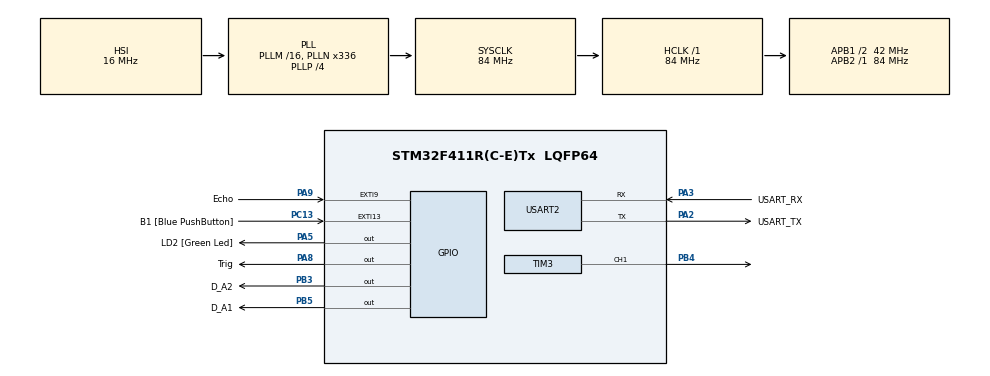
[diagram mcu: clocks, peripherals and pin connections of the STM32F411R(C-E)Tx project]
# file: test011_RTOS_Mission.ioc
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FREERTOS.BinarySemaphores01=myBinarySem01,Dynamic,NULL
FREERTOS.Tasks01=myTask01,1,128,myStartTask01,Default,NULL,Dynamic,NULL,NULL;myTask02,0,128,myStartTask02,Default,NULL,Dynamic,NULL,NULL;myTask03,-1,128,myStartTask03,Default,NULL,Dynamic,NULL,NULL;myTask04,-2,512,myStartTask04,Default,NULL,Dynamic,NULL,NULL
FREERTOS.configUSE_NEWLIB_REENTRANT=1
Mcu.Family=STM32F4
Mcu.Name=STM32F411R(C-E)Tx
Mcu.Package=LQFP64
NVIC.EXTI15_10_IRQn=true\:5\:0\:false\:false\:true\:true\:true\:true\:true
NVIC.EXTI9_5_IRQn=true\:5\:0\:false\:false\:true\:false\:true\:true\:true
NVIC.PriorityGroup=NVIC_PRIORITYGROUP_4
NVIC.TIM1_UP_TIM10_IRQn=true\:15\:0\:false\:false\:true\:false\:false\:true\:true
NVIC.TimeBase=TIM1_UP_TIM10_IRQn
NVIC.TimeBaseIP=TIM10
PA13.GPIO_Label=TMS
PA13.Mode=Serial_Wire
PA13.Signal=SYS_JTMS-SWDIO
PA14.GPIO_Label=TCK
PA14.Mode=Serial_Wire
PA14.Signal=SYS_JTCK-SWCLK
PA2.GPIO_Label=USART_TX
PA2.Mode=Asynchronous
PA2.Signal=USART2_TX
PA3.GPIO_Label=USART_RX
PA3.Mode=Asynchronous
PA3.Signal=USART2_RX
PA5.GPIO_Label=LD2 [Green Led]
PA5.Signal=GPIO_Output
PA8.GPIO_Label=Trig
PA8.Signal=GPIO_Output
PA9.GPIO_Label=Echo
PA9.GPIO_ModeDefaultEXTI=GPIO_MODE_IT_RISING_FALLING
PA9.Signal=GPXTI9
PB3.GPIO_Label=D_A2
PB3.Signal=GPIO_Output
PB4.Signal=S_TIM3_CH1
PB5.GPIO_Label=D_A1
PB5.Signal=GPIO_Output
PC13-ANTI_TAMP.GPIO_Label=B1 [Blue PushButton]
PC13-ANTI_TAMP.GPIO_ModeDefaultEXTI=GPIO_MODE_IT_FALLING
PC13-ANTI_TAMP.Signal=GPXTI13
PC14-OSC32_IN.Mode=LSE-External-Oscillator
PC14-OSC32_IN.Signal=RCC_OSC32_IN
PC15-OSC32_OUT.Mode=LSE-External-Oscillator
PC15-OSC32_OUT.Signal=RCC_OSC32_OUT
PH0\ -\ OSC_IN.Mode=HSE-External-Clock-Source
PH0\ -\ OSC_IN.Signal=RCC_OSC_IN
PH1\ -\ OSC_OUT.Mode=HSE-External-Clock-Source
PH1\ -\ OSC_OUT.Signal=RCC_OSC_OUT
ProjectManager.HeapSize=0x200
ProjectManager.StackSize=0x400
ProjectManager.TargetToolchain=STM32CubeIDE
RCC.48MHZClocksFreq_Value=84000000
RCC.AHBFreq_Value=84000000
RCC.APB1CLKDivider=RCC_HCLK_DIV2
RCC.APB1Freq_Value=42000000
RCC.APB1TimFreq_Value=84000000
RCC.APB2Freq_Value=84000000
RCC.APB2TimFreq_Value=84000000
RCC.CortexFreq_Value=84000000
RCC.FLatency-AdvancedSettings=FLASH_LATENCY_2
RCC.HCLKFreq_Value=84000000
RCC.HSE_VALUE=8000000
RCC.HSI_VALUE=16000000
RCC.PLLN=336
RCC.PLLP=RCC_PLLP_DIV4
RCC.SYSCLKFreq_VALUE=84000000
RCC.SYSCLKSource=RCC_SYSCLKSOURCE_PLLCLK
RCC.VCOOutputFreq_Value=336000000
SH.S_TIM3_CH1.0=TIM3_CH1,PWM Generation1 CH1
TIM2.Prescaler=84-1
TIM3.Channel-PWM\ Generation1\ CH1=TIM_CHANNEL_1
TIM3.Period=1000-1
TIM3.Prescaler=84-1
TIM3.Pulse-PWM\ Generation1\ CH1=500
USART2.VirtualMode=VM_ASYNC
VP_FREERTOS_VS_CMSIS_V1.Mode=CMSIS_V1
VP_SYS_VS_tim10.Mode=TIM10
VP_TIM2_VS_ClockSourceINT.Mode=Internal
VP_TIM3_VS_ClockSourceINT.Mode=Internal
board=NUCLEO-F411RE

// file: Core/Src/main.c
/* USER CODE BEGIN Header */
/**
  ******************************************************************************
  * @file           : main.c
  * @brief          : Main program body
  ******************************************************************************
  * @attention
  *
  * Copyright (c) 2025 STMicroelectronics.
  * All rights reserved.
  *
  * This software is licensed under terms that can be found in the LICENSE file
  * in the root directory of this software component.
  * If no LICENSE file comes with this software, it is provided AS-IS.
  *
  ******************************************************************************
  */
/* USER CODE END Header */
#include "main.h"
#include "cmsis_os.h"

TIM_HandleTypeDef htim2;
TIM_HandleTypeDef htim3;

UART_HandleTypeDef huart2;

osThreadId myTask01Handle;
osThreadId myTask02Handle;
osThreadId myTask03Handle;
osThreadId myTask04Handle;
osSemaphoreId myBinarySem01Handle;

void SystemClock_Config(void);
static void MX_GPIO_Init(void);
static void MX_USART2_UART_Init(void);
static void MX_TIM2_Init(void);
static void MX_TIM3_Init(void);
void myStartTask01(void const * argument);
void myStartTask02(void const * argument);
void myStartTask03(void const * argument);
void myStartTask04(void const * argument);

/* USER CODE BEGIN 0 */
int mode = 0;
int step = 0;
int d;
int spinning = 0;
void microDelay(int us) {
	htim2.Instance->CNT = 0;
	while((htim2.Instance->CNT < us));
}
void Trigger()
{
	HAL_GPIO_WritePin(Trig_GPIO_Port, Trig_Pin, 0);
	microDelay(10);
	HAL_GPIO_WritePin(Trig_GPIO_Port, Trig_Pin, 1);
	microDelay(10);
	HAL_GPIO_WritePin(Trig_GPIO_Port, Trig_Pin, 0);
}
void LD2Test()
{
	HAL_GPIO_TogglePin(LD2_GPIO_Port, LD2_Pin);
}
//void HAL_GPIO_EXTI_Callback(uint16_t btn) //External Interrupt ISR
//{
////	switch(btn)
////	{
////	case B1_Pin :
////		d += 45;
////		mode = mode ? 0 : 1;
////		break;
////	}
//	osSemaphoreRelease(myBinarySem01Handle);
//}
int dist;
int t1 = 0, t2 = 0;
int angle = 0;

void HAL_GPIO_EXTI_Callback(uint16_t GPIO_PIN)
{
	if(GPIO_PIN == Echo_Pin)
	{
		if(HAL_GPIO_ReadPin(Echo_GPIO_Port, Echo_Pin) == 1)
		{
			//htim2.Instance->CNT = 0;
			t1 = htim2.Instance->CNT;
		}
		else
		{
			t2 = htim2.Instance->CNT;
			dist = (t2 - t1) * 0.17;
		}
	}
//	if(dist < 100)
//	{
//		angle = 90 * 2048 / 360;
//		spinning = 1;
//	}
//	else if(dist >= 100 && dist < 300)
//	{
//		angle = 45 * 2048 / 360;
//		spinning = 1;
//	}

}
//void step_Wave(int step)
//{
//	switch(step)
//	{
//	case 0:
//		HAL_GPIO_WritePin(IN1_GPIO_Port, IN1_Pin, 1);
//		HAL_GPIO_WritePin(IN2_GPIO_Port, IN2_Pin, 0);
//		HAL_GPIO_WritePin(IN3_GPIO_Port, IN3_Pin, 0);
//		HAL_GPIO_WritePin(IN4_GPIO_Port, IN4_Pin, 0);
//		break;
//	case 1:
//		HAL_GPIO_WritePin(IN1_GPIO_Port, IN1_Pin, 0);
//		HAL_GPIO_WritePin(IN2_GPIO_Port, IN2_Pin, 1);
//		HAL_GPIO_WritePin(IN3_GPIO_Port, IN3_Pin, 0);
//		HAL_GPIO_WritePin(IN4_GPIO_Port, IN4_Pin, 0);
//		break;
//	case 2:
//		HAL_GPIO_WritePin(IN1_GPIO_Port, IN1_Pin, 0);
//		HAL_GPIO_WritePin(IN2_GPIO_Port, IN2_Pin, 0);
//		HAL_GPIO_WritePin(IN3_GPIO_Port, IN3_Pin, 1);
//		HAL_GPIO_WritePin(IN4_GPIO_Port, IN4_Pin, 0);
//		break;
//	case 3:
//		HAL_GPIO_WritePin(IN1_GPIO_Port, IN1_Pin, 0);
//		HAL_GPIO_WritePin(IN2_GPIO_Port, IN2_Pin, 0);
//		HAL_GPIO_WritePin(IN3_GPIO_Port, IN3_Pin, 0);
//		HAL_GPIO_WritePin(IN4_GPIO_Port, IN4_Pin, 1);
//		break;
//
//	}
//}
/* USER CODE END 0 */

int main(void)
{

  /* MCU Configuration--------------------------------------------------------*/

  /* Reset of all peripherals, Initializes the Flash interface and the Systick. */
  HAL_Init();

  /* Configure the system clock */
  SystemClock_Config();

  /* Initialize all configured peripherals */
  MX_GPIO_Init();
  MX_USART2_UART_Init();
  MX_TIM2_Init();
  MX_TIM3_Init();

  /* Create the semaphores(s) */
  /* definition and creation of myBinarySem01 */
  osSemaphoreDef(myBinarySem01);
  myBinarySem01Handle = osSemaphoreCreate(osSemaphore(myBinarySem01), 1);

  /* Create the thread(s) */
  /* definition and creation of myTask01 */
  osThreadDef(myTask01, myStartTask01, osPriorityAboveNormal, 0, 128);
  myTask01Handle = osThreadCreate(osThread(myTask01), NULL);

  /* definition and creation of myTask02 */
  osThreadDef(myTask02, myStartTask02, osPriorityNormal, 0, 128);
  myTask02Handle = osThreadCreate(osThread(myTask02), NULL);

  /* definition and creation of myTask03 */
  osThreadDef(myTask03, myStartTask03, osPriorityBelowNormal, 0, 128);
  myTask03Handle = osThreadCreate(osThread(myTask03), NULL);

  /* definition and creation of myTask04 */
  osThreadDef(myTask04, myStartTask04, osPriorityLow, 0, 512);
  myTask04Handle = osThreadCreate(osThread(myTask04), NULL);

  /* USER CODE BEGIN RTOS_THREADS */
  /* add threads, ... */
  ProgramStart("FreeRTOS Mission");
  HAL_TIM_Base_Start(&htim2);
  HAL_TIM_PWM_Start(&htim3, TIM_CHANNEL_1);
  HAL_GPIO_WritePin(D_A1_GPIO_Port, D_A1_Pin, 1);
  HAL_GPIO_WritePin(D_A2_GPIO_Port, D_A2_Pin, 0);
  osSemaphoreRelease(myBinarySem01Handle);
  /* USER CODE END RTOS_THREADS */

  /* Start scheduler */
  osKernelStart();

  /* We should never get here as control is now taken by the scheduler */
  /* Infinite loop */
  while (1)
  {

  }
}

void SystemClock_Config(void)
{
  RCC_OscInitTypeDef RCC_OscInitStruct = {0};
  RCC_ClkInitTypeDef RCC_ClkInitStruct = {0};

  /** Configure the main internal regulator output voltage
  */
  __HAL_RCC_PWR_CLK_ENABLE();
  __HAL_PWR_VOLTAGESCALING_CONFIG(PWR_REGULATOR_VOLTAGE_SCALE1);

  /** Initializes the RCC Oscillators according to the specified parameters
  * in the RCC_OscInitTypeDef structure.
  */
  RCC_OscInitStruct.OscillatorType = RCC_OSCILLATORTYPE_HSI;
  RCC_OscInitStruct.HSIState = RCC_HSI_ON;
  RCC_OscInitStruct.HSICalibrationValue = RCC_HSICALIBRATION_DEFAULT;
  RCC_OscInitStruct.PLL.PLLState = RCC_PLL_ON;
  RCC_OscInitStruct.PLL.PLLSource = RCC_PLLSOURCE_HSI;
  RCC_OscInitStruct.PLL.PLLM = 16;
  RCC_OscInitStruct.PLL.PLLN = 336;
  RCC_OscInitStruct.PLL.PLLP = RCC_PLLP_DIV4;
  RCC_OscInitStruct.PLL.PLLQ = 4;
  if (HAL_RCC_OscConfig(&RCC_OscInitStruct) != HAL_OK)
  {
    Error_Handler();
  }

  /** Initializes the CPU, AHB and APB buses clocks
  */
  RCC_ClkInitStruct.ClockType = RCC_CLOCKTYPE_HCLK|RCC_CLOCKTYPE_SYSCLK
                              |RCC_CLOCKTYPE_PCLK1|RCC_CLOCKTYPE_PCLK2;
  RCC_ClkInitStruct.SYSCLKSource = RCC_SYSCLKSOURCE_PLLCLK;
  RCC_ClkInitStruct.AHBCLKDivider = RCC_SYSCLK_DIV1;
  RCC_ClkInitStruct.APB1CLKDivider = RCC_HCLK_DIV2;
  RCC_ClkInitStruct.APB2CLKDivider = RCC_HCLK_DIV1;

  if (HAL_RCC_ClockConfig(&RCC_ClkInitStruct, FLASH_LATENCY_2) != HAL_OK)
  {
    Error_Handler();
  }
}

static void MX_TIM2_Init(void)
{

  TIM_ClockConfigTypeDef sClockSourceConfig = {0};
  TIM_MasterConfigTypeDef sMasterConfig = {0};

  htim2.Instance = TIM2;
  htim2.Init.Prescaler = 84-1;
  htim2.Init.CounterMode = TIM_COUNTERMODE_UP;
  htim2.Init.Period = 4294967295;
  htim2.Init.ClockDivision = TIM_CLOCKDIVISION_DIV1;
  htim2.Init.AutoReloadPreload = TIM_AUTORELOAD_PRELOAD_DISABLE;
  if (HAL_TIM_Base_Init(&htim2) != HAL_OK)
  {
    Error_Handler();
  }
  sClockSourceConfig.ClockSource = TIM_CLOCKSOURCE_INTERNAL;
  if (HAL_TIM_ConfigClockSource(&htim2, &sClockSourceConfig) != HAL_OK)
  {
    Error_Handler();
  }
  sMasterConfig.MasterOutputTrigger = TIM_TRGO_RESET;
  sMasterConfig.MasterSlaveMode = TIM_MASTERSLAVEMODE_DISABLE;
  if (HAL_TIMEx_MasterConfigSynchronization(&htim2, &sMasterConfig) != HAL_OK)
  {
    Error_Handler();
  }

}

static void MX_TIM3_Init(void)
{

  TIM_ClockConfigTypeDef sClockSourceConfig = {0};
  TIM_MasterConfigTypeDef sMasterConfig = {0};
  TIM_OC_InitTypeDef sConfigOC = {0};

  htim3.Instance = TIM3;
  htim3.Init.Prescaler = 84-1;
  htim3.Init.CounterMode = TIM_COUNTERMODE_UP;
  htim3.Init.Period = 1000-1;
  htim3.Init.ClockDivision = TIM_CLOCKDIVISION_DIV1;
  htim3.Init.AutoReloadPreload = TIM_AUTORELOAD_PRELOAD_DISABLE;
  if (HAL_TIM_Base_Init(&htim3) != HAL_OK)
  {
    Error_Handler();
  }
  sClockSourceConfig.ClockSource = TIM_CLOCKSOURCE_INTERNAL;
  if (HAL_TIM_ConfigClockSource(&htim3, &sClockSourceConfig) != HAL_OK)
  {
    Error_Handler();
  }
  if (HAL_TIM_PWM_Init(&htim3) != HAL_OK)
  {
    Error_Handler();
  }
  sMasterConfig.MasterOutputTrigger = TIM_TRGO_RESET;
  sMasterConfig.MasterSlaveMode = TIM_MASTERSLAVEMODE_DISABLE;
  if (HAL_TIMEx_MasterConfigSynchronization(&htim3, &sMasterConfig) != HAL_OK)
  {
    Error_Handler();
  }
  sConfigOC.OCMode = TIM_OCMODE_PWM1;
  sConfigOC.Pulse = 500;
  sConfigOC.OCPolarity = TIM_OCPOLARITY_HIGH;
  sConfigOC.OCFastMode = TIM_OCFAST_DISABLE;
  if (HAL_TIM_PWM_ConfigChannel(&htim3, &sConfigOC, TIM_CHANNEL_1) != HAL_OK)
  {
    Error_Handler();
  }
  HAL_TIM_MspPostInit(&htim3);

}

static void MX_USART2_UART_Init(void)
{

  huart2.Instance = USART2;
  huart2.Init.BaudRate = 115200;
  huart2.Init.WordLength = UART_WORDLENGTH_8B;
  huart2.Init.StopBits = UART_STOPBITS_1;
  huart2.Init.Parity = UART_PARITY_NONE;
  huart2.Init.Mode = UART_MODE_TX_RX;
  huart2.Init.HwFlowCtl = UART_HWCONTROL_NONE;
  huart2.Init.OverSampling = UART_OVERSAMPLING_16;
  if (HAL_UART_Init(&huart2) != HAL_OK)
  {
    Error_Handler();
  }

}

static void MX_GPIO_Init(void)
{
  GPIO_InitTypeDef GPIO_InitStruct = {0};

  /* GPIO Ports Clock Enable */
  __HAL_RCC_GPIOC_CLK_ENABLE();
  __HAL_RCC_GPIOH_CLK_ENABLE();
  __HAL_RCC_GPIOA_CLK_ENABLE();
  __HAL_RCC_GPIOB_CLK_ENABLE();

  /*Configure GPIO pin Output Level */
  HAL_GPIO_WritePin(GPIOA, LD2_Pin|Trig_Pin, GPIO_PIN_RESET);

  /*Configure GPIO pin Output Level */
  HAL_GPIO_WritePin(GPIOB, D_A2_Pin|D_A1_Pin, GPIO_PIN_RESET);

  /*Configure GPIO pin : B1_Pin */
  GPIO_InitStruct.Pin = B1_Pin;
  GPIO_InitStruct.Mode = GPIO_MODE_IT_FALLING;
  GPIO_InitStruct.Pull = GPIO_NOPULL;
  HAL_GPIO_Init(B1_GPIO_Port, &GPIO_InitStruct);

  /*Configure GPIO pins : LD2_Pin Trig_Pin */
  GPIO_InitStruct.Pin = LD2_Pin|Trig_Pin;
  GPIO_InitStruct.Mode = GPIO_MODE_OUTPUT_PP;
  GPIO_InitStruct.Pull = GPIO_NOPULL;
  GPIO_InitStruct.Speed = GPIO_SPEED_FREQ_LOW;
  HAL_GPIO_Init(GPIOA, &GPIO_InitStruct);

  /*Configure GPIO pin : Echo_Pin */
  GPIO_InitStruct.Pin = Echo_Pin;
  GPIO_InitStruct.Mode = GPIO_MODE_IT_RISING_FALLING;
  GPIO_InitStruct.Pull = GPIO_NOPULL;
  HAL_GPIO_Init(Echo_GPIO_Port, &GPIO_InitStruct);

  /*Configure GPIO pins : D_A2_Pin D_A1_Pin */
  GPIO_InitStruct.Pin = D_A2_Pin|D_A1_Pin;
  GPIO_InitStruct.Mode = GPIO_MODE_OUTPUT_PP;
  GPIO_InitStruct.Pull = GPIO_NOPULL;
  GPIO_InitStruct.Speed = GPIO_SPEED_FREQ_LOW;
  HAL_GPIO_Init(GPIOB, &GPIO_InitStruct);

  /* EXTI interrupt init*/
  HAL_NVIC_SetPriority(EXTI9_5_IRQn, 5, 0);
  HAL_NVIC_EnableIRQ(EXTI9_5_IRQn);

  HAL_NVIC_SetPriority(EXTI15_10_IRQn, 5, 0);
  HAL_NVIC_EnableIRQ(EXTI15_10_IRQn);

}

/* USER CODE BEGIN 4 */
int ccr1 = 500;
/* USER CODE END 4 */

void myStartTask01(void const * argument)
{
  /* USER CODE BEGIN 5 */
  /* Infinite loop */
  for(;;)
  {
	  if(osSemaphoreWait(myBinarySem01Handle, 0) == osOK)
	  {
		  Trigger();
		  osDelay(60);
	  }
	  osSemaphoreRelease(myBinarySem01Handle);
    osDelay(1);
  }
  /* USER CODE END 5 */
}

void myStartTask02(void const * argument)
{
  /* USER CODE BEGIN myStartTask02 */
  /* Infinite loop */
  for(;;)
  {
	  htim3.Instance->CCR1 = ccr1;
	  if(osSemaphoreWait(myBinarySem01Handle, 0) == osOK)
	  {
		  if(dist < 200)
			  ccr1 = 0;
		  else if(dist < 500 && dist >= 200)
		  	{
			    ccr1 = 150;
			    spinning = 1;
		  	}
		  	else
		  	{
		  		ccr1 = 400;
		  		spinning = 0;
		  	}

//		printf("Angle2 : %d \r\n", angle);
//		printf("Count : %d \r\n", cnt);
//		step_Wave(cnt % 4);
//		if(cnt < angle)
//		{
//			cnt++;
//		}
//		else
//		{
//			cnt = 0;
//			angle = 0;
//			spinning = 0;
//			osSemaphoreRelease(myBinarySem01Handle);
//		}
		  osSemaphoreRelease(myBinarySem01Handle);
		  osDelay(10);

	  }
    osDelay(1);
  }
  /* USER CODE END myStartTask02 */
}

void myStartTask03(void const * argument)
{
  /* USER CODE BEGIN myStartTask03 */
  /* Infinite loop */
  for(;;)
  {
	  if(spinning)
	  {
		  LD2Test();
		  osDelay(450);
	  }
    osDelay(50);
  }
  /* USER CODE END myStartTask03 */
}

void myStartTask04(void const * argument)
{
  /* USER CODE BEGIN myStartTask04 */
  /* Infinite loop */
  for(;;)
  {
//	  if(osSemaphoreWait(myBinarySem01Handle, 0) == osOK && !spinning){
//		  printf("Current distance : %d\r\n", dist);
//		  osSemaphoreRelease(myBinarySem01Handle);
//		  osDelay(50);
//	  }
	  if(osSemaphoreWait(myBinarySem01Handle, 0) == osOK){
		  printf("Current distance : %d\r\n", dist);
		  osDelay(100);
		  osSemaphoreRelease(myBinarySem01Handle);
	  }
    osDelay(1);
  }
  /* USER CODE END myStartTask04 */
}

void HAL_TIM_PeriodElapsedCallback(TIM_HandleTypeDef *htim)
{
  if (htim->Instance == TIM10) {
    HAL_IncTick();
  }
}

void Error_Handler(void)
{
  __disable_irq();
  while (1)
  {
  }
}
